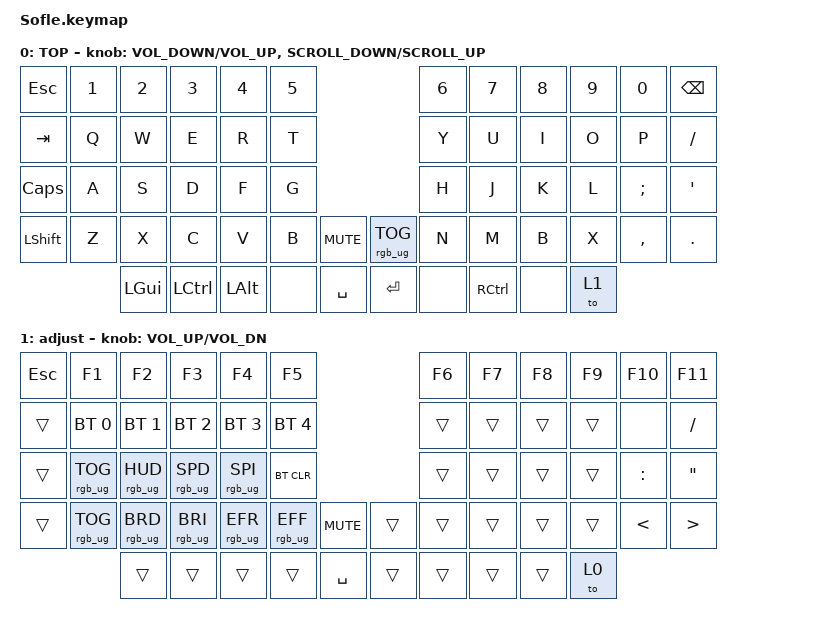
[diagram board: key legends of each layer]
/*
 * Copyright (c) 2020 The ZMK Contributors
 *
 * SPDX-License-Identifier: MIT
 */

#include <behaviors.dtsi>
#include <dt-bindings/zmk/bt.h>
#include <dt-bindings/zmk/keys.h>
#include <dt-bindings/zmk/rgb.h>

#define BASE 0
#define LOWER 1
#define RAISE 2
#define ADJUST 3

/ {
    // Activate ADJUST layer by pressing raise and lower

    conditional_layers {
        compatible = "zmk,conditional-layers";

        adjust_layer {
            if-layers = <1 1>;
            then-layer = <1>;
        };
    };

    keymap {
        compatible = "zmk,keymap";

        TOP {
            // ------------------------------------------------------------------------------------------------------------
            // |   `   |  1  |  2  |  3   |  4   |  5   |                   |  6   |  7    |  8    |  9   |   0   |       |
            // |  ESC  |  Q  |  W  |  E   |  R   |  T   |                   |  Y   |  U    |  I    |  O   |   P   | BKSPC |
            // |  TAB  |  A  |  S  |  D   |  F   |  G   |                   |  H   |  J    |  K    |  L   |   ;   |   '   |
            // | SHIFT |  Z  |  X  |  C   |  V   |  B   |  MUTE  |  |       |  N   |  M    |  ,    |  .   |   /   | SHIFT |
            //               | GUI | ALT  | CTRL | LOWER|  ENTER |  | SPACE | RAISE| CTRL  | ALT   | GUI  |

            bindings = <
&kp ESC       &kp N1  &kp N2        &kp N3     &kp N4        &kp N5                                 &kp N6  &kp N7     &kp N8  &kp N9  &kp N0     &kp BACKSPACE
&kp TAB       &kp Q   &kp W         &kp E      &kp R         &kp T                                  &kp Y   &kp U      &kp I   &kp O   &kp P      &kp SLASH
&kp CAPSLOCK  &kp A   &kp S         &kp D      &kp F         &kp G                                  &kp H   &kp J      &kp K   &kp L   &kp SEMI   &kp SQT
&kp LSHFT     &kp Z   &kp X         &kp C      &kp V         &kp B   &kp C_MUTE    &rgb_ug RGB_TOG  &kp N   &kp M      &kp B   &kp X   &kp COMMA  &kp PERIOD
                      &kp LEFT_GUI  &kp LCTRL  &kp LEFT_ALT  &none   &kp SPACE     &kp ENTER        &none   &kp RCTRL  &none   &to 1
            >;

            sensor-bindings =
                <&inc_dec_kp C_VOLUME_DOWN C_VOLUME_UP>,
                <&inc_dec_kp K_SCROLL_DOWN K_SCROLL_UP>;
        };

        ADJUST {
            // ----------------------------------------------------------------------------------------------------------------------------
            // | BTCLR  |  BT1    |  BT2    |   BT3   |   BT4   |   BT5   |                  |      |      |       |      |       |       |
            // | EXTPWR | RGB_HUD | RGB_HUI | RGB_SAD | RGB_SAI | RGB_EFF |                  |      |      |       |      |       |       |
            // |        | RGB_BRD | RGB_BRI |         |         |         |                  |      |      |       |      |       |       |
            // |        |         |         |         |         |         | RGB_TOG | |      |      |      |       |      |       |       |
            //                    |         |         |         |         |         | |      |      |      |       |      |

            display-name = "adjust";
            bindings = <
&kp ESCAPE  &kp F1           &kp F2           &kp F3           &kp F4           &kp F5                                 &kp F6  &kp F7  &kp F8  &kp F9  &kp F10        &kp F11
&trans      &bt BT_SEL 0     &bt BT_SEL 1     &bt BT_SEL 2     &bt BT_SEL 3     &bt BT_SEL 4                           &trans  &trans  &trans  &trans  &none          &kp SLASH
&trans      &rgb_ug RGB_TOG  &rgb_ug RGB_HUD  &rgb_ug RGB_SPD  &rgb_ug RGB_SPI  &bt BT_CLR                             &trans  &trans  &trans  &trans  &kp COLON      &kp DOUBLE_QUOTES
&trans      &rgb_ug RGB_TOG  &rgb_ug RGB_BRD  &rgb_ug RGB_BRI  &rgb_ug RGB_EFR  &rgb_ug RGB_EFF  &kp C_MUTE    &trans  &trans  &trans  &trans  &trans  &kp LESS_THAN  &kp GREATER_THAN
                             &trans           &trans           &trans           &trans           &kp SPACE     &trans  &trans  &trans  &trans  &to 0
            >;

            sensor-bindings = <&inc_dec_kp C_VOL_UP C_VOL_DN>;
        };
    };
};
